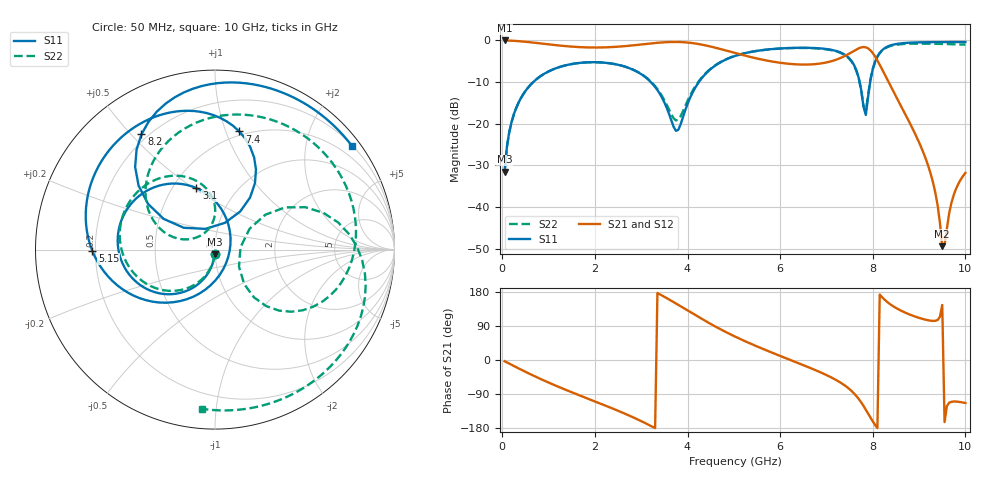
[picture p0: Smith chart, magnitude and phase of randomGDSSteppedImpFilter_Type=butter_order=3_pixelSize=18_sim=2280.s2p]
! freq	dB(S11)	phase(S11)	dB(S12)	phase(S12)
!  dB(S21)	phase(S21)	dB(S22)	phase(S22)
!S-par simulation data
#  GHz  S  DB  R 50
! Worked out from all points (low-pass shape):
!   200 points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, 50 MHz to 10 GHz, reference 50 ohm
!   highest |S21| = -0.01 dB at 50 MHz (marker M1); lowest = -49.4 dB at 9.5 GHz (marker M2)
!   |S21| within 3 dB of the highest: start of sweep to 5.023 GHz; 7.517 GHz to 7.997 GHz (480.6 MHz wide, 6.2 % of centre)
!   lowest |S11| = -31.5 dB at 50 MHz (marker M3), VSWR 1.05, Z = 49.8 - j2.64 ohm
!   |S11| at or under -10 dB: start of sweep to 669.3 MHz; 3.207 GHz to 4.245 GHz (1.038 GHz wide, 27.9 % of centre); 7.716 GHz to 7.944 GHz (228.5 MHz wide, 2.92 % of centre)
!   |S22| runs from -31.5 to -0.8 dB; largest |S21 - S12| = 0
!   S11 on the Smith chart (normalised r, x): 50 MHz: 1.00, -0.05; 3.1 GHz: 0.65, +0.51; 5.15 GHz: 0.19, -0.01; 7.4 GHz: 0.46, +1.11; 8.2 GHz: 0.17, +0.54; 10 GHz: 0.22, +2.97
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0.05  -31.53 -93.2  -0.01 -3.2  -0.01 -3.2  -31.51 -93.5
0.2  -19.62 -102.5  -0.07 -12.7  -0.07 -12.7  -19.62 -103.7
0.5  -12.15 -120.2  -0.32 -31.2  -0.32 -31.2  -12.15 -123.1
1.75  -5.32 177.1  -1.65 -97.3  -1.65 -97.3  -5.32 167.5
3.1  -8.92 106.8  -0.85 -167.3  -0.85 -167.3  -8.84 100.2
3.4  -12.79 81.3  -0.52 173.6  -0.52 173.6  -12.49 90.0
3.8  -21.48 -29.0  -0.37 145.5  -0.37 145.5  -19.04 135.5
4.35  -8.51 -128.6  -1.10 105.5  -1.10 105.5  -8.36 154.5
5.05  -3.63 -174.2  -3.09 60.5  -3.09 60.5  -3.62 112.9
5.15  -3.31 -179.4  -3.38 54.8  -3.38 54.8  -3.30 107.0
5.9  -2.01 146.8  -5.21 15.7  -5.21 15.7  -2.03 64.1
6.7  -1.81 114.4  -5.74 -23.5  -5.74 -23.5  -1.86 19.7
7.4  -3.45 78.4  -3.72 -67.6  -3.72 -67.6  -3.57 -26.1
7.65  -7.29 59.0  -2.15 -95.7  -2.15 -95.7  -7.44 -47.8
7.85  -17.91 114.8  -1.65 -131.1  -1.65 -131.1  -16.93 5.1
8  -6.90 145.7  -3.04 -161.9  -3.04 -161.9  -6.83 31.1
8.2  -2.36 122.5  -6.91 165.8  -6.91 165.8  -2.45 6.4
8.35  -1.32 108.6  -10.20 149.5  -10.20 149.5  -1.46 -8.9
9.2  -0.42 64.9  -30.25 104.7  -30.25 104.7  -0.78 -60.2
9.5  -0.39 53.9  -49.43 145.3  -49.43 145.3  -0.84 -73.6
9.75  -0.38 45.3  -37.08 -109.5  -37.08 -109.5  -0.92 -84.2
10  -0.38 37.1  -31.82 -113.4  -31.82 -113.4  -1.01 -94.5
